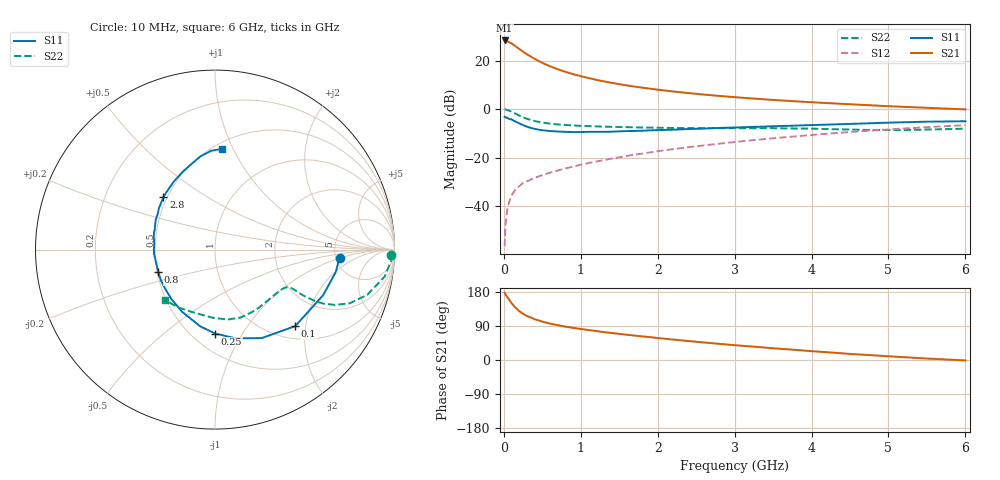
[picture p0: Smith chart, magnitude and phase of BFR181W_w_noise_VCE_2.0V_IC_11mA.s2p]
! (c) 2017  Infineon Technologies AG, Munich
! Infineon Technologies  Discrete & RF Semiconductors
! BFR181W
! VCE =  2.0 V,  IC =  11 mA
! Common Emitter S-Parameters:  Jan 2017
# GHz  S  MA  R  50
!  f  S11  S21  S12  S22
! GHz  MAG  ANG  MAG  ANG  MAG  ANG  MAG  ANG
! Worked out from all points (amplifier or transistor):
!   77 points, 10 MHz to 6 GHz, reference 50 ohm
!   highest |S21| = 28.3 dB at 10 MHz (marker M1)
!   |S21| within 3 dB of that: start of sweep to 179.4 MHz
!   unconditionally stable (mu >= 1): 786.9 MHz to 2.779 GHz
!   at 130 MHz: K = 0.32, MSG = 30.3 dB, |S12| = -34.1 dB
!   at 2.2 GHz: K = 1.06, MAG = 10.4 dB, |S12| = -16.5 dB
!   at 6 GHz: K = 0.84, MSG = 3.2 dB, |S12| = -6.6 dB
!   lowest NFmin = 1.29 dB at 450 MHz
!   S11 on the Smith chart (normalised r, x): 10 MHz: 5.38, -0.96; 100 MHz: 1.27, -1.75; 250 MHz: 0.64, -0.77; 800 MHz: 0.51, -0.14; 2.8 GHz: 0.48, +0.33; 6 GHz: 0.55, +0.90
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0.01  0.6952 -3.8  25.96 177.6  0.0015 80.8  0.9823 -1.7
0.02  0.6844 -10.5  25.8 173.4  0.0037 93.8  0.9847 -3.5
0.05  0.654 -22.8  24.83 164.2  0.0094 79.3  0.9565 -9.1
0.1  0.6179 -43.6  22.55 149.9  0.0164 73.0  0.8853 -16.5
0.15  0.5578 -62.1  19.92 138.4  0.022 66.3  0.8085 -21.7
0.2  0.5081 -76.8  17.37 129.0  0.0259 63.2  0.7375 -24.7
0.25  0.4677 -89.9  15.27 121.8  0.0299 60.5  0.6788 -26.4
0.3  0.4355 -100.9  13.46 116.1  0.0325 59.8  0.6309 -27.2
0.4  0.3922 -117.8  10.83 107.5  0.0383 59.6  0.5685 -27.5
0.5  0.3675 -131.2  8.953 101.2  0.0436 60.7  0.5282 -27.3
0.6  0.353 -141.8  7.631 96.1  0.049 62.0  0.5015 -26.9
0.7  0.3461 -150.9  6.63 91.9  0.0542 63.6  0.4835 -26.7
0.8  0.3398 -158.4  5.871 88.1  0.06 65.1  0.4707 -26.9
0.9  0.3365 -164.8  5.25 84.8  0.0652 65.7  0.4602 -27.3
1.1  0.3404 -175.7  4.363 79.1  0.0774 67.6  0.4465 -28.3
1.5  0.3483 168.2  3.264 69.0  0.1017 69.1  0.4272 -32.4
2.1  0.3727 150.5  2.41 56.0  0.1425 68.8  0.4106 -41.8
2.8  0.4094 134.6  1.868 42.6  0.1939 66.5  0.4056 -55.5
3.1  0.4224 128.6  1.715 37.5  0.2177 64.6  0.4036 -61.4
4.1  0.4737 111.1  1.358 21.9  0.3014 57.5  0.3917 -81.7
5.1  0.5308 97.4  1.13 8.6  0.3894 48.2  0.3699 -109.3
6  0.562 86.2  0.986 -1.1  0.4676 38.6  0.3974 -134.9
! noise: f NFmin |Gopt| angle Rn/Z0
0.45  1.29  0.12  17  0.21
0.9  1.33  0.12  31  0.21
1.9  1.76  0.04  -171  0.2
2.4  1.95  0.05  -122  0.25
